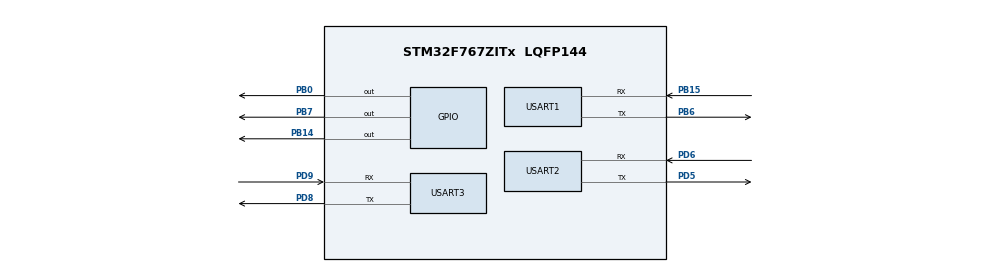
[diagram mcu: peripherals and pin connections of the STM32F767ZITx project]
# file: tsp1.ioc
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CORTEX_M7.default_mode_Activation=1
Mcu.Family=STM32F7
Mcu.Name=STM32F767ZITx
Mcu.Package=LQFP144
NVIC.PriorityGroup=NVIC_PRIORITYGROUP_4
NVIC.USART1_IRQn=true\:0\:0\:false\:false\:true\:true\:true\:true
NVIC.USART2_IRQn=true\:0\:0\:false\:false\:true\:true\:true\:true
NVIC.USART3_IRQn=true\:0\:0\:false\:false\:true\:true\:true\:true
PB0.Signal=GPIO_Output
PB14.Signal=GPIO_Output
PB15.Mode=Asynchronous
PB15.Signal=USART1_RX
PB6.Mode=Asynchronous
PB6.Signal=USART1_TX
PB7.Signal=GPIO_Output
PD5.Mode=Asynchronous
PD5.Signal=USART2_TX
PD6.Mode=Asynchronous
PD6.Signal=USART2_RX
PD8.Mode=Asynchronous
PD8.Signal=USART3_TX
PD9.Mode=Asynchronous
PD9.Signal=USART3_RX
ProjectManager.HeapSize=0x200
ProjectManager.StackSize=0x400
ProjectManager.TargetToolchain=STM32CubeIDE
RCC.HSE_VALUE=25000000
RCC.HSI_VALUE=16000000
RCC.LSE_VALUE=32768
RCC.USBFreq_Value=96000000
RCC.VCOOutputFreq_Value=192000000
USART1.VirtualMode-Asynchronous=VM_ASYNC
USART2.VirtualMode-Asynchronous=VM_ASYNC
USART3.VirtualMode-Asynchronous=VM_ASYNC
board=custom

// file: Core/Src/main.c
/* USER CODE BEGIN Header */
/**
  ******************************************************************************
  * @file           : main.c
  * @brief          : Main program body
  ******************************************************************************
  * @attention
  *
  * Copyright (c) 2025 STMicroelectronics.
  * All rights reserved.
  *
  * This software is licensed under terms that can be found in the LICENSE file
  * in the root directory of this software component.
  * If no LICENSE file comes with this software, it is provided AS-IS.
  *
  ******************************************************************************
  */
/* USER CODE END Header */
#include "main.h"

/* USER CODE BEGIN Includes */
#include <string.h>
#include <stdio.h>
char rx_buffer;
char rx_message[100];
char rx_msg_external[100];
char rx_msg_ex_coppy[100];
char tx_message[100];
char name_1[50];
char name_2[50];
int len_rx;
int len;
int status;
uint8_t newLine[] = "\r\n";
UART_HandleTypeDef *selected_uart;

// set UART number Start UART1 or URAT2
int uart_no = 1;
// set UART number End
/* USER CODE END Includes */

UART_HandleTypeDef huart1;
UART_HandleTypeDef huart2;
UART_HandleTypeDef huart3;

void SystemClock_Config(void);
static void MPU_Config(void);
static void MX_GPIO_Init(void);
static void MX_USART1_UART_Init(void);
static void MX_USART2_UART_Init(void);
static void MX_USART3_UART_Init(void);

/* USER CODE BEGIN 0 */

void HAL_UART_RxCpltCallback(UART_HandleTypeDef *huart) {
    if (status != -1) {
//    	memset(rx_msg_external, 0, sizeof(rx_msg_external));
        HAL_UART_Receive_IT(selected_uart, (uint8_t *)rx_msg_external, sizeof(rx_msg_external));
        status = 1;
    }
}

void formatStr()
{
	int start_index = 0;

	while (rx_msg_external[start_index] == '\0' && start_index < sizeof(rx_msg_external))
	{
		start_index++;
	}

	if (start_index < sizeof(rx_msg_external))
	{
		strcpy(rx_msg_ex_coppy, &rx_msg_external[start_index]);

		if (strlen(name_2) == 0)
		{
			strcpy(name_2, rx_msg_ex_coppy);
			memset(tx_message, 0, sizeof(tx_message));
			snprintf(tx_message, sizeof(tx_message), "%s is ready\r\n", name_2);
			HAL_UART_Transmit(&huart3, (uint8_t *)tx_message, sizeof(tx_message), HAL_MAX_DELAY);
			status = 2;
		}
		else if (strcmp(rx_msg_ex_coppy, "RXhpdCBQcm9ncmFtICEh") == 0)
		{
			memset(tx_message, 0, sizeof(tx_message));
			snprintf(tx_message, sizeof(tx_message), "Exit Program !!");
			HAL_UART_Transmit(&huart3, (uint8_t*)tx_message, sizeof(tx_message), HAL_MAX_DELAY);
			status = -1;
		}
		else
		{
			HAL_UART_Transmit(&huart3, (uint8_t *)rx_msg_ex_coppy, sizeof(rx_msg_ex_coppy), HAL_MAX_DELAY);
			HAL_UART_Transmit(&huart3, newLine, sizeof(newLine), HAL_MAX_DELAY);
			status = 2;
		}
	}
}

void title_line()
{
	memset(tx_message, 0, sizeof(tx_message));
	if (strlen(name_1) == 0)
	{
		HAL_UART_Transmit(&huart3, (uint8_t*)"NAME : ", 7, HAL_MAX_DELAY);
	}
	else
	{
		snprintf(tx_message, sizeof(tx_message), "%s => ", name_1);
	    HAL_UART_Transmit(&huart3, (uint8_t*)tx_message, sizeof(tx_message), HAL_MAX_DELAY);
	}

}

/* USER CODE END 0 */

int main(void)
{

  /* MPU Configuration--------------------------------------------------------*/
  MPU_Config();

  /* MCU Configuration--------------------------------------------------------*/

  /* Reset of all peripherals, Initializes the Flash interface and the Systick. */
  HAL_Init();

  /* Configure the system clock */
  SystemClock_Config();

  /* Initialize all configured peripherals */
  MX_GPIO_Init();
  MX_USART1_UART_Init();
  MX_USART2_UART_Init();
  MX_USART3_UART_Init();
  /* USER CODE BEGIN 2 */

	HAL_UART_Transmit(&huart3, newLine, sizeof(newLine), HAL_MAX_DELAY);

	snprintf(tx_message, sizeof(tx_message),
		  "Man from U.A.R.T.%lu !\r\n"
		  "Quit PRESS q\r\n", uart_no);
	HAL_UART_Transmit(&huart3, (uint8_t*)tx_message, sizeof(tx_message), HAL_MAX_DELAY);

	memset(tx_message, 0, sizeof(tx_message));
	memset(rx_msg_external, 0, sizeof(rx_msg_external));

	if (uart_no == 1)
	{
		selected_uart = &huart1;
		title_line();
		status = 2;
	}
	else if (uart_no == 2)
	{
		selected_uart = &huart2;
		status = 0;
	}
	else
	{
		return 0;
	}

	HAL_UART_Receive_IT(selected_uart, rx_msg_external, sizeof(rx_msg_external));
  /* USER CODE END 2 */

  /* Infinite loop */
  while (1)
  {

    /* USER CODE BEGIN 3 */

	  if (status == 1) {
		  formatStr();
		  title_line();
	  }
	  else if (status == 2) {

		  // input char
		  if (HAL_UART_Receive(&huart3, (uint8_t*)&rx_buffer, sizeof(rx_buffer), HAL_MAX_DELAY) == HAL_OK)
		  {
			  HAL_UART_Transmit(&huart3, (uint8_t*)&rx_buffer, sizeof(rx_buffer), HAL_MAX_DELAY);

			  // add char to string
			  len = strlen(rx_message);
			  if (len < sizeof(rx_message) - 1 && rx_buffer != '\r')
			  {
				  rx_message[len] = rx_buffer;
				  rx_message[len + 1] = '\0';

			  }
			  len_rx = strlen(rx_message);

			  // action ENTER KEY
			  if (rx_buffer == '\r')
			  {
				  if (strlen(rx_message) == 1 && (strcmp(rx_message, "q") == 0 || strcmp(rx_message, "Q") == 0))
				  {
					  // Exit Program !! => encode base64 UFT8 RXhpdCBQcm9ncmFtICEh
					  memset(tx_message, 0, sizeof(tx_message));
					  snprintf(tx_message, sizeof(tx_message), "RXhpdCBQcm9ncmFtICEh");
					  HAL_UART_Transmit(selected_uart, (uint8_t*)tx_message, sizeof(tx_message), HAL_MAX_DELAY);
					  HAL_UART_Transmit(&huart3, newLine, sizeof(newLine), HAL_MAX_DELAY);

					  memset(tx_message, 0, sizeof(tx_message));
					  snprintf(tx_message, sizeof(tx_message), "Exit Program !!");
					  HAL_UART_Transmit(&huart3, (uint8_t*)tx_message, sizeof(tx_message), HAL_MAX_DELAY);
					  status = -1;
				  }
				  else if (strlen(name_1) == 0 && len_rx > 0 )
				  {
					  strncpy(name_1, rx_message, sizeof(name_1)-1);
					  name_1[sizeof(name_1) - 1] = '\0';

					  // EXTERNAL BOARD START

					  memset(tx_message, 0, sizeof(tx_message));
					  snprintf(tx_message, sizeof(tx_message), "%s", name_1);
					  HAL_UART_Transmit(selected_uart, (uint8_t*)tx_message, sizeof(tx_message), HAL_MAX_DELAY);
					  HAL_UART_Transmit(&huart3, newLine, sizeof(newLine), HAL_MAX_DELAY);

					  if (uart_no == 2)
					  {
						  memset(tx_message, 0, sizeof(tx_message));
						  snprintf(tx_message, sizeof(tx_message), "%s : ", name_2);
						  HAL_UART_Transmit(&huart3, (uint8_t*)tx_message, sizeof(tx_message), HAL_MAX_DELAY);
					  }

					  status = 0;

					  // EXTERNAL BOARD END

				  }
				  else if (strlen(name_1) == 0 && len_rx == 0 )
				  {
					  title_line();
					  status = 2;
				  }
				  else if (strlen(name_1) != 0)
				  {
					  // EXTERNAL BOARD START
					  memset(tx_message, 0, sizeof(tx_message));

					  snprintf(tx_message, sizeof(tx_message), "%s", rx_message);
					  HAL_UART_Transmit(selected_uart, (uint8_t*)tx_message, sizeof(tx_message), HAL_MAX_DELAY);
					  HAL_UART_Transmit(&huart3, newLine, sizeof(newLine), HAL_MAX_DELAY);

					  memset(tx_message, 0, sizeof(tx_message));

					  snprintf(tx_message, sizeof(tx_message), "%s : ", name_2);
					  HAL_UART_Transmit(&huart3, (uint8_t*)tx_message, sizeof(tx_message), HAL_MAX_DELAY);

					  status = 0;

					  // EXTERNAL BOARD END
				  }

				  len_rx = 0;
				  memset(rx_message, 0, sizeof(rx_message));

			  }
		  }
	  }
  }
  /* USER CODE END 3 */
}

void SystemClock_Config(void)
{
  RCC_OscInitTypeDef RCC_OscInitStruct = {0};
  RCC_ClkInitTypeDef RCC_ClkInitStruct = {0};

  /** Configure the main internal regulator output voltage
  */
  __HAL_RCC_PWR_CLK_ENABLE();
  __HAL_PWR_VOLTAGESCALING_CONFIG(PWR_REGULATOR_VOLTAGE_SCALE3);

  /** Initializes the RCC Oscillators according to the specified parameters
  * in the RCC_OscInitTypeDef structure.
  */
  RCC_OscInitStruct.OscillatorType = RCC_OSCILLATORTYPE_HSI;
  RCC_OscInitStruct.HSIState = RCC_HSI_ON;
  RCC_OscInitStruct.HSICalibrationValue = RCC_HSICALIBRATION_DEFAULT;
  RCC_OscInitStruct.PLL.PLLState = RCC_PLL_NONE;
  if (HAL_RCC_OscConfig(&RCC_OscInitStruct) != HAL_OK)
  {
    Error_Handler();
  }

  /** Initializes the CPU, AHB and APB buses clocks
  */
  RCC_ClkInitStruct.ClockType = RCC_CLOCKTYPE_HCLK|RCC_CLOCKTYPE_SYSCLK
                              |RCC_CLOCKTYPE_PCLK1|RCC_CLOCKTYPE_PCLK2;
  RCC_ClkInitStruct.SYSCLKSource = RCC_SYSCLKSOURCE_HSI;
  RCC_ClkInitStruct.AHBCLKDivider = RCC_SYSCLK_DIV1;
  RCC_ClkInitStruct.APB1CLKDivider = RCC_HCLK_DIV1;
  RCC_ClkInitStruct.APB2CLKDivider = RCC_HCLK_DIV1;

  if (HAL_RCC_ClockConfig(&RCC_ClkInitStruct, FLASH_LATENCY_0) != HAL_OK)
  {
    Error_Handler();
  }
}

static void MX_USART1_UART_Init(void)
{

  huart1.Instance = USART1;
  huart1.Init.BaudRate = 115200;
  huart1.Init.WordLength = UART_WORDLENGTH_8B;
  huart1.Init.StopBits = UART_STOPBITS_1;
  huart1.Init.Parity = UART_PARITY_NONE;
  huart1.Init.Mode = UART_MODE_TX_RX;
  huart1.Init.HwFlowCtl = UART_HWCONTROL_NONE;
  huart1.Init.OverSampling = UART_OVERSAMPLING_16;
  huart1.Init.OneBitSampling = UART_ONE_BIT_SAMPLE_DISABLE;
  huart1.AdvancedInit.AdvFeatureInit = UART_ADVFEATURE_NO_INIT;
  if (HAL_UART_Init(&huart1) != HAL_OK)
  {
    Error_Handler();
  }

}

static void MX_USART2_UART_Init(void)
{

  huart2.Instance = USART2;
  huart2.Init.BaudRate = 115200;
  huart2.Init.WordLength = UART_WORDLENGTH_8B;
  huart2.Init.StopBits = UART_STOPBITS_1;
  huart2.Init.Parity = UART_PARITY_NONE;
  huart2.Init.Mode = UART_MODE_TX_RX;
  huart2.Init.HwFlowCtl = UART_HWCONTROL_NONE;
  huart2.Init.OverSampling = UART_OVERSAMPLING_16;
  huart2.Init.OneBitSampling = UART_ONE_BIT_SAMPLE_DISABLE;
  huart2.AdvancedInit.AdvFeatureInit = UART_ADVFEATURE_NO_INIT;
  if (HAL_UART_Init(&huart2) != HAL_OK)
  {
    Error_Handler();
  }

}

static void MX_USART3_UART_Init(void)
{

  huart3.Instance = USART3;
  huart3.Init.BaudRate = 115200;
  huart3.Init.WordLength = UART_WORDLENGTH_8B;
  huart3.Init.StopBits = UART_STOPBITS_1;
  huart3.Init.Parity = UART_PARITY_NONE;
  huart3.Init.Mode = UART_MODE_TX_RX;
  huart3.Init.HwFlowCtl = UART_HWCONTROL_NONE;
  huart3.Init.OverSampling = UART_OVERSAMPLING_16;
  huart3.Init.OneBitSampling = UART_ONE_BIT_SAMPLE_DISABLE;
  huart3.AdvancedInit.AdvFeatureInit = UART_ADVFEATURE_NO_INIT;
  if (HAL_UART_Init(&huart3) != HAL_OK)
  {
    Error_Handler();
  }

}

static void MX_GPIO_Init(void)
{
  GPIO_InitTypeDef GPIO_InitStruct = {0};

  /* GPIO Ports Clock Enable */
  __HAL_RCC_GPIOB_CLK_ENABLE();
  __HAL_RCC_GPIOD_CLK_ENABLE();

  /*Configure GPIO pin Output Level */
  HAL_GPIO_WritePin(GPIOB, GPIO_PIN_0|GPIO_PIN_14|GPIO_PIN_7, GPIO_PIN_RESET);

  /*Configure GPIO pins : PB0 PB14 PB7 */
  GPIO_InitStruct.Pin = GPIO_PIN_0|GPIO_PIN_14|GPIO_PIN_7;
  GPIO_InitStruct.Mode = GPIO_MODE_OUTPUT_PP;
  GPIO_InitStruct.Pull = GPIO_NOPULL;
  GPIO_InitStruct.Speed = GPIO_SPEED_FREQ_LOW;
  HAL_GPIO_Init(GPIOB, &GPIO_InitStruct);

}

 /* MPU Configuration */

void MPU_Config(void)
{
  MPU_Region_InitTypeDef MPU_InitStruct = {0};

  /* Disables the MPU */
  HAL_MPU_Disable();

  /** Initializes and configures the Region and the memory to be protected
  */
  MPU_InitStruct.Enable = MPU_REGION_ENABLE;
  MPU_InitStruct.Number = MPU_REGION_NUMBER0;
  MPU_InitStruct.BaseAddress = 0x0;
  MPU_InitStruct.Size = MPU_REGION_SIZE_4GB;
  MPU_InitStruct.SubRegionDisable = 0x87;
  MPU_InitStruct.TypeExtField = MPU_TEX_LEVEL0;
  MPU_InitStruct.AccessPermission = MPU_REGION_NO_ACCESS;
  MPU_InitStruct.DisableExec = MPU_INSTRUCTION_ACCESS_DISABLE;
  MPU_InitStruct.IsShareable = MPU_ACCESS_SHAREABLE;
  MPU_InitStruct.IsCacheable = MPU_ACCESS_NOT_CACHEABLE;
  MPU_InitStruct.IsBufferable = MPU_ACCESS_NOT_BUFFERABLE;

  HAL_MPU_ConfigRegion(&MPU_InitStruct);
  /* Enables the MPU */
  HAL_MPU_Enable(MPU_PRIVILEGED_DEFAULT);

}

void Error_Handler(void)
{
  __disable_irq();
  while (1)
  {
  }
}
